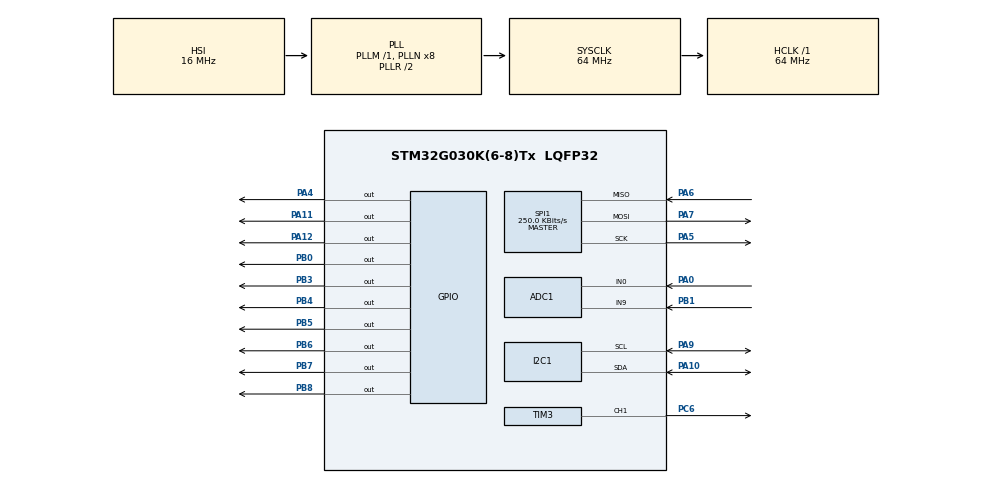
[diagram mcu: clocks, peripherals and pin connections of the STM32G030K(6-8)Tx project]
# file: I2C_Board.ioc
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ADC1.Channel-0\#ChannelRegularConversion=ADC_CHANNEL_0
ADC1.NbrOfConversionFlag=1
ADC1.Rank-0\#ChannelRegularConversion=1
ADC1.SamplingTime-0\#ChannelRegularConversion=ADC_SAMPLINGTIME_COMMON_1
ADC1.SelectedChannel=ADC_CHANNEL_0|ADC_CHANNEL_TEMPSENSOR|ADC_CHANNEL_VREFINT|ADC_CHANNEL_9
ADC1.master=1
Dma.I2C1_RX.1.Direction=DMA_PERIPH_TO_MEMORY
Dma.I2C1_RX.1.EventEnable=DISABLE
Dma.I2C1_RX.1.Instance=DMA1_Channel2
Dma.I2C1_RX.1.MemDataAlignment=DMA_MDATAALIGN_BYTE
Dma.I2C1_RX.1.MemInc=DMA_MINC_ENABLE
Dma.I2C1_RX.1.Mode=DMA_NORMAL
Dma.I2C1_RX.1.PeriphDataAlignment=DMA_PDATAALIGN_BYTE
Dma.I2C1_RX.1.PeriphInc=DMA_PINC_DISABLE
Dma.I2C1_RX.1.Polarity=HAL_DMAMUX_REQ_GEN_RISING
Dma.I2C1_RX.1.Priority=DMA_PRIORITY_LOW
Dma.I2C1_RX.1.RequestNumber=1
Dma.I2C1_RX.1.SignalID=NONE
Dma.I2C1_RX.1.SyncEnable=DISABLE
Dma.I2C1_RX.1.SyncPolarity=HAL_DMAMUX_SYNC_NO_EVENT
Dma.I2C1_RX.1.SyncRequestNumber=1
Dma.I2C1_RX.1.SyncSignalID=NONE
Dma.I2C1_TX.2.Direction=DMA_MEMORY_TO_PERIPH
Dma.I2C1_TX.2.EventEnable=DISABLE
Dma.I2C1_TX.2.Instance=DMA1_Channel3
Dma.I2C1_TX.2.MemDataAlignment=DMA_MDATAALIGN_BYTE
Dma.I2C1_TX.2.MemInc=DMA_MINC_ENABLE
Dma.I2C1_TX.2.Mode=DMA_NORMAL
Dma.I2C1_TX.2.PeriphDataAlignment=DMA_PDATAALIGN_BYTE
Dma.I2C1_TX.2.PeriphInc=DMA_PINC_DISABLE
Dma.I2C1_TX.2.Polarity=HAL_DMAMUX_REQ_GEN_RISING
Dma.I2C1_TX.2.Priority=DMA_PRIORITY_LOW
Dma.I2C1_TX.2.RequestNumber=1
Dma.I2C1_TX.2.SignalID=NONE
Dma.I2C1_TX.2.SyncEnable=DISABLE
Dma.I2C1_TX.2.SyncPolarity=HAL_DMAMUX_SYNC_NO_EVENT
Dma.I2C1_TX.2.SyncRequestNumber=1
Dma.I2C1_TX.2.SyncSignalID=NONE
Dma.Request0=TIM3_CH1
Dma.Request1=I2C1_RX
Dma.Request2=I2C1_TX
Dma.TIM3_CH1.0.Direction=DMA_MEMORY_TO_PERIPH
Dma.TIM3_CH1.0.EventEnable=DISABLE
Dma.TIM3_CH1.0.Instance=DMA1_Channel1
Dma.TIM3_CH1.0.MemDataAlignment=DMA_MDATAALIGN_HALFWORD
Dma.TIM3_CH1.0.MemInc=DMA_MINC_ENABLE
Dma.TIM3_CH1.0.Mode=DMA_NORMAL
Dma.TIM3_CH1.0.PeriphDataAlignment=DMA_PDATAALIGN_HALFWORD
Dma.TIM3_CH1.0.PeriphInc=DMA_PINC_DISABLE
Dma.TIM3_CH1.0.Polarity=HAL_DMAMUX_REQ_GEN_RISING
Dma.TIM3_CH1.0.Priority=DMA_PRIORITY_LOW
Dma.TIM3_CH1.0.RequestNumber=1
Dma.TIM3_CH1.0.SignalID=NONE
Dma.TIM3_CH1.0.SyncEnable=DISABLE
Dma.TIM3_CH1.0.SyncPolarity=HAL_DMAMUX_SYNC_NO_EVENT
Dma.TIM3_CH1.0.SyncRequestNumber=1
Dma.TIM3_CH1.0.SyncSignalID=NONE
I2C1.NoStretchMode=I2C_NOSTRETCH_ENABLE
I2C1.Timing=0x00503D58
Mcu.Family=STM32G0
Mcu.Name=STM32G030K(6-8)Tx
Mcu.Package=LQFP32
NVIC.DMA1_Channel1_IRQn=true\:0\:0\:false\:false\:true\:false\:true\:true
NVIC.DMA1_Channel2_3_IRQn=true\:0\:0\:false\:false\:true\:false\:true\:true
NVIC.I2C1_IRQn=true\:0\:0\:false\:false\:true\:true\:true\:true
PA0.Mode=IN0
PA0.Signal=ADC1_IN0
PA10.Mode=I2C
PA10.Signal=I2C1_SDA
PA11\ [PA9].Signal=GPIO_Output
PA12\ [PA10].Signal=GPIO_Output
PA4.GPIO_PuPd=GPIO_PULLDOWN
PA4.GPIO_Speed=GPIO_SPEED_FREQ_HIGH
PA4.Signal=GPIO_Output
PA5.Mode=Full_Duplex_Master
PA5.Signal=SPI1_SCK
PA6.Mode=Full_Duplex_Master
PA6.Signal=SPI1_MISO
PA7.Mode=Full_Duplex_Master
PA7.Signal=SPI1_MOSI
PA9.Mode=I2C
PA9.Signal=I2C1_SCL
PB0.Signal=GPIO_Output
PB1.Mode=IN9
PB1.Signal=ADC1_IN9
PB3.Signal=GPIO_Output
PB4.Signal=GPIO_Output
PB5.Signal=GPIO_Output
PB6.Signal=GPIO_Output
PB7.Signal=GPIO_Output
PB8.Signal=GPIO_Output
PC6.Signal=S_TIM3_CH1
ProjectManager.HeapSize=0x200
ProjectManager.StackSize=0x400
ProjectManager.TargetToolchain=STM32CubeIDE
RCC.ADCFreq_Value=64000000
RCC.AHBFreq_Value=64000000
RCC.CortexFreq_Value=64000000
RCC.EXTERNAL_CLOCK_VALUE=12288000
RCC.HCLKFreq_Value=64000000
RCC.HSE_VALUE=8000000
RCC.HSI_VALUE=16000000
RCC.I2C1CLockSelection=RCC_I2C1CLKSOURCE_HSI
RCC.LSE_VALUE=32768
RCC.SYSCLKFreq_VALUE=64000000
RCC.SYSCLKSource=RCC_SYSCLKSOURCE_PLLCLK
RCC.VCOOutputFreq_Value=128000000
SH.S_TIM3_CH1.0=TIM3_CH1,PWM Generation1 CH1
SPI1.BaudRatePrescaler=SPI_BAUDRATEPRESCALER_256
SPI1.CalculateBaudRate=250.0 KBits/s
SPI1.DataSize=SPI_DATASIZE_8BIT
SPI1.Direction=SPI_DIRECTION_2LINES
SPI1.Mode=SPI_MODE_MASTER
SPI1.NSSPMode=SPI_NSS_PULSE_DISABLE
SPI1.VirtualType=VM_MASTER
TIM3.Channel-PWM\ Generation1\ CH1=TIM_CHANNEL_1
TIM3.Period=80-1
VP_ADC1_TempSens_Input.Mode=IN-TempSens
VP_ADC1_Vref_Input.Mode=IN-Vrefint
board=custom

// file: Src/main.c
/* USER CODE BEGIN Header */
/**
 ******************************************************************************
 * @file           : main.c
 * @brief          : Main program body
 ******************************************************************************
 * @attention
 *
 * Copyright (c) 2025 STMicroelectronics.
 * All rights reserved.
 *
 * This software is licensed under terms that can be found in the LICENSE file
 * in the root directory of this software component.
 * If no LICENSE file comes with this software, it is provided AS-IS.
 *
 ******************************************************************************
 */
/* USER CODE END Header */
#include "main.h"
#include "adc.h"
#include "dma.h"
#include "i2c.h"
#include "spi.h"
#include "tim.h"
#include "gpio.h"

/* USER CODE BEGIN Includes */
#include "ws2812b.h"
#include "color.h"
#include <math.h>
#include "device_hal/devicefactory.h"
#include "i2c_device_bus/i2c_device_bus.h"
#include "stm32g0xx_hal_i2c.h"
#include "stm32g0xx_hal_i2c_ex.h"
#include "stm32g0xx_it.h"
#include "devices/bme280_io.h"
#include "configuration.h"
#include "stm32g0xx.h"
/* USER CODE END Includes */

/* USER CODE BEGIN PTD */
  BME280_Reading bme280_reading = {0};
/* USER CODE END PTD */

/* USER CODE BEGIN PD */
// #define SYSCFG_CFGR1_EN_VREFINT (1U << 22)
/* USER CODE END PD */

void SystemClock_Config(void);

/* USER CODE BEGIN 0 */

/* Global buffers */

/* USER CODE END 0 */

int main(void)
{

  /* MCU Configuration--------------------------------------------------------*/

  /* Reset of all peripherals, Initializes the Flash interface and the Systick. */
  HAL_Init();

  /* Configure the system clock */
  SystemClock_Config();

  /* Initialize all configured peripherals */
  MX_GPIO_Init();
  MX_DMA_Init();
  MX_I2C1_Init();
  MX_SPI1_Init();
  MX_ADC1_Init();
  MX_TIM3_Init();
  /* USER CODE BEGIN 2 */
  auto status = HAL_ADCEx_Calibration_Start(&hadc1);

  SetupDevices(); // Initialize devices based on configuration

  // HAL_I2C_EnableListen_IT(&hi2c1);
  // get the current sensor device
  // Device *current_sensor_device = FindDeviceByName("current_sensor");

  // just read from current sensor in a loop to test it
  // while (true)
  // {
  //   if (current_sensor_device)
  //   {
  //     float current_value = 0.0f;
  //     current_sensor_device->read(current_sensor_device, &current_value);
  //   }
  // }
  // get the bme280 device
  Device *bme280_device = FindDeviceByName("bme280_sensor");

  // configure ws2812b

Set_LED(0, 0, 0, 0);
// WS2812_Send();

// Test 1: Just red
Set_LED(0, 0, 0, 0);
Set_LED(0, 25, 0, 0);
HAL_Delay(100);

Set_LED(0, 0, 0, 0);
Set_LED(0, 0, 25, 0);
HAL_Delay(100);

// Test 3: Just blue
Set_LED(0, 0, 0, 0);
Set_LED(0, 0, 0, 25);
HAL_Delay(100);

  /* USER CODE END 2 */

  /* Infinite loop */
  /* USER CODE BEGIN WHILE */
  uint32_t last_led_time = 0;
  I2C_Slave_Init();
  // Initialize I2C slave communication
  while (1)
  {
    I2C_Slave_PollingLoop(); // Poll for I2C commands

    // create a place to store the reading from the bme280
    // // read the bme280 sensor
    // if (bme280_device)
    // {
    //   bme280_device->read(bme280_device, &bme280_reading);
    // }

    // // Process the reading if valid
    // float temp = bme280_reading.temperature;
    // float humidity = bme280_reading.humidity;
    // float pressure = bme280_reading.pressure;
    // processI2C(); // Process any I2C commands received

    // flash the led between red and green every 1 second
    // if (HAL_GetTick() - last_led_time >= 1000)
    // {
    //   last_led_time = HAL_GetTick();
    //   static int led_state = 0; // 0 for red, 1 for green
    //   if (led_state == 0)
    //   {
    //     Set_LED(0, 25, 0, 0); // Set first LED to Red
    //   }
    //   else
    //   {
    //     Set_LED(0, 0, 25, 0); // Set first LED to Green
    //   }
    //   WS2812_Send(); // Send the data to the WS2812B LEDs
    //   led_state = !led_state; // Toggle state
    // }

    /* USER CODE END WHILE */

  }
}

void SystemClock_Config(void)
{
  RCC_OscInitTypeDef RCC_OscInitStruct = {0};
  RCC_ClkInitTypeDef RCC_ClkInitStruct = {0};

  /** Configure the main internal regulator output voltage
  */
  HAL_PWREx_ControlVoltageScaling(PWR_REGULATOR_VOLTAGE_SCALE1);

  /** Initializes the RCC Oscillators according to the specified parameters
  * in the RCC_OscInitTypeDef structure.
  */
  RCC_OscInitStruct.OscillatorType = RCC_OSCILLATORTYPE_HSI;
  RCC_OscInitStruct.HSIState = RCC_HSI_ON;
  RCC_OscInitStruct.HSIDiv = RCC_HSI_DIV1;
  RCC_OscInitStruct.HSICalibrationValue = RCC_HSICALIBRATION_DEFAULT;
  RCC_OscInitStruct.PLL.PLLState = RCC_PLL_ON;
  RCC_OscInitStruct.PLL.PLLSource = RCC_PLLSOURCE_HSI;
  RCC_OscInitStruct.PLL.PLLM = RCC_PLLM_DIV1;
  RCC_OscInitStruct.PLL.PLLN = 8;
  RCC_OscInitStruct.PLL.PLLP = RCC_PLLP_DIV2;
  RCC_OscInitStruct.PLL.PLLR = RCC_PLLR_DIV2;
  if (HAL_RCC_OscConfig(&RCC_OscInitStruct) != HAL_OK)
  {
    Error_Handler();
  }

  /** Initializes the CPU, AHB and APB buses clocks
  */
  RCC_ClkInitStruct.ClockType = RCC_CLOCKTYPE_HCLK|RCC_CLOCKTYPE_SYSCLK
                              |RCC_CLOCKTYPE_PCLK1;
  RCC_ClkInitStruct.SYSCLKSource = RCC_SYSCLKSOURCE_PLLCLK;
  RCC_ClkInitStruct.AHBCLKDivider = RCC_SYSCLK_DIV1;
  RCC_ClkInitStruct.APB1CLKDivider = RCC_HCLK_DIV1;

  if (HAL_RCC_ClockConfig(&RCC_ClkInitStruct, FLASH_LATENCY_2) != HAL_OK)
  {
    Error_Handler();
  }
}

void Error_Handler(void)
{
  __disable_irq();
  while (1)
  {
  }
}
